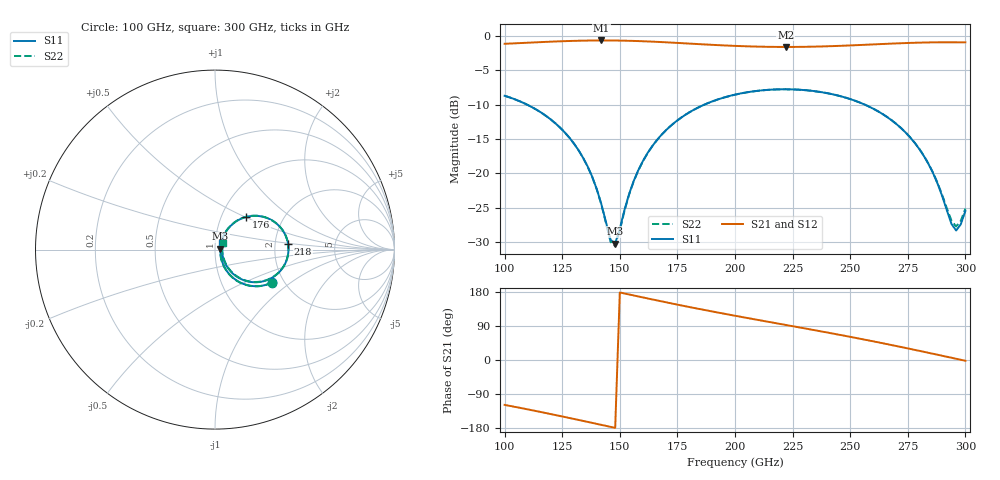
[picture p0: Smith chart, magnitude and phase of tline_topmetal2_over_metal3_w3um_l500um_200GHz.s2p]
#  GHZ S DB R 50
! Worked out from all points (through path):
!   101 points, 100 GHz to 300 GHz, reference 50 ohm
!   highest |S21| = -0.64 dB at 142 GHz (marker M1); lowest = -1.6 dB at 222 GHz (marker M2)
!   group delay of S21, straight-line fit = 3.33 ps
!   lowest |S11| = -30.2 dB at 148 GHz (marker M3), VSWR 1.06, Z = 53.1 + j0.541 ohm
!   |S11| at or under -10 dB: 109.8 GHz to 186.6 GHz (76.83 GHz wide, 51.8 % of centre); 256.4 GHz to end of sweep
!   |S22| runs from -30.6 to -7.8 dB; largest |S21 - S12| = 1.1e-14
!   S11 on the Smith chart (normalised r, x): 100 GHz: 1.74, -0.73; 176 GHz: 1.31, +0.51; 218 GHz: 2.37, +0.17; 300 GHz: 1.08, +0.07
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100  -8.70 -29.8  -1.13 -118.4  -1.13 -118.4  -8.70 -29.9
120  -12.14 -50.5  -0.82 -142.6  -0.82 -142.6  -12.14 -50.7
134  -17.69 -61.3  -0.67 -160.7  -0.67 -160.7  -17.70 -61.8
138  -20.48 -61.1  -0.65 -165.9  -0.65 -165.9  -20.51 -61.8
142  -24.48 -54.4  -0.64 -171.2  -0.64 -171.2  -24.56 -55.5
146  -29.67 -23.1  -0.65 -176.5  -0.65 -176.5  -29.98 -24.2
148  -30.22 9.5  -0.66 -179.1  -0.66 -179.1  -30.60 9.8
156  -21.14 57.5  -0.71 170.3  -0.71 170.3  -21.19 58.3
162  -17.07 57.8  -0.79 162.6  -0.79 162.6  -17.09 58.3
168  -14.42 53.8  -0.88 154.9  -0.88 154.9  -14.43 54.2
176  -12.03 46.5  -1.02 144.9  -1.02 144.9  -12.04 46.8
200  -8.54 22.3  -1.43 116.8  -1.43 116.8  -8.54 22.5
218  -7.77 4.2  -1.58 96.9  -1.58 96.9  -7.78 4.4
222  -7.75 0.2  -1.59 92.5  -1.59 92.5  -7.76 0.5
234  -8.01 -11.8  -1.54 79.3  -1.54 79.3  -8.01 -11.5
252  -9.41 -29.9  -1.34 58.8  -1.34 58.8  -9.41 -29.6
268  -12.27 -45.6  -1.10 39.4  -1.10 39.4  -12.26 -45.1
282  -17.48 -54.9  -0.95 21.6  -0.95 21.6  -17.44 -53.9
288  -21.56 -51.6  -0.91 13.7  -0.91 13.7  -21.45 -50.1
294  -27.39 -22.5  -0.91 5.9  -0.91 5.9  -26.92 -20.9
296  -28.32 0.9  -0.91 3.2  -0.91 3.2  -27.73 1.0
300  -25.47 40.0  -0.93 -2.0  -0.93 -2.0  -25.14 38.1
